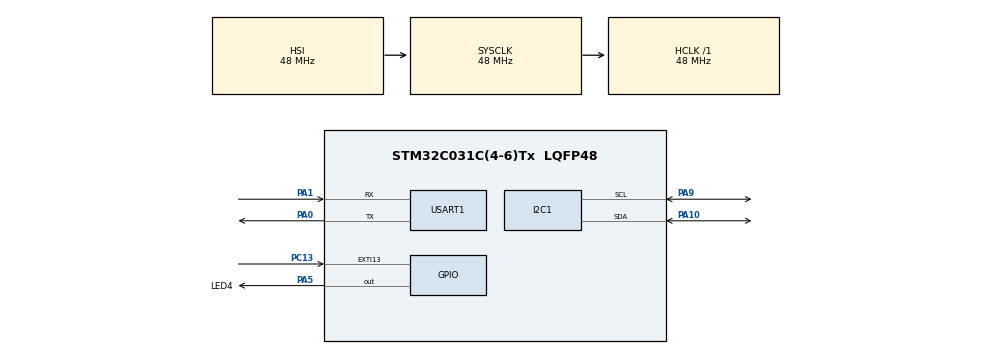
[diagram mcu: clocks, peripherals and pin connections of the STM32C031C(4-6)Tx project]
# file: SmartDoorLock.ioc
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I2C1.Timing=0x10805D88
Mcu.Family=STM32C0
Mcu.Name=STM32C031C(4-6)Tx
Mcu.Package=LQFP48
NUCLEO-C031C6.BUTTON=2
NUCLEO-C031C6.Bsp_Common_DEMO=true
NUCLEO-C031C6.LD4=false
NUCLEO-C031C6.VCP=false
NVIC.EXTI4_15_IRQn=true\:0\:0\:false\:false\:true\:true\:true\:false
PA0.Mode=Asynchronous
PA0.Signal=USART1_TX
PA1.Mode=Asynchronous
PA1.Signal=USART1_RX
PA10.Mode=I2C
PA10.Signal=I2C1_SDA
PA5.GPIO_Label=LED4
PA5.Signal=GPIO_Output
PA9.Mode=I2C
PA9.Signal=I2C1_SCL
PC13.Signal=GPXTI13
ProjectManager.HeapSize=0x200
ProjectManager.StackSize=0x400
ProjectManager.TargetToolchain=STM32CubeIDE
RCC.ADCFreq_Value=48000000
RCC.AHBFreq_Value=48000000
RCC.CortexFreq_Value=48000000
RCC.EXTERNAL_CLOCK_VALUE=12288000
RCC.HCLKFreq_Value=48000000
RCC.HSE_VALUE=48000000
RCC.HSISYSCLKDivider=RCC_HSI_DIV1
RCC.HSI_VALUE=48000000
RCC.LSE_VALUE=32768
RCC.SYSCLKFreq_VALUE=48000000
USART1.VirtualMode-Asynchronous=VM_ASYNC
board=NUCLEO-C031C6

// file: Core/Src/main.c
/* USER CODE BEGIN Header */
/**
  ******************************************************************************
  * @file    GPIO/GPIO_EXTI/Src/main.c
  * @author  MCD Application Team
  * @brief   This example describes how to configure and use GPIOs through
  *          the STM32C0xx HAL API.
  ******************************************************************************
  * @attention
  *
  * Copyright (c) 2022 STMicroelectronics.
  * All rights reserved.
  *
  * This software is licensed under terms that can be found in the LICENSE file
  * in the root directory of this software component.
  * If no LICENSE file comes with this software, it is provided AS-IS.
  *
  ******************************************************************************
  */
/* USER CODE END Header */
#include "main.h"

I2C_HandleTypeDef hi2c1;

UART_HandleTypeDef huart1;

void SystemClock_Config(void);
static void MX_GPIO_Init(void);
static void MX_I2C1_Init(void);
static void MX_USART1_UART_Init(void);
/* USER CODE BEGIN PFP */
/* Private function prototypes -----------------------------------------------*/
static void EXTI4_15_IRQHandler_Config(void);
/* USER CODE END PFP */

int main(void)
{

  /* USER CODE BEGIN 1 */
  /* STM32C0xx HAL library initialization:
       - Configure the Flash prefetch
       - Systick timer is configured by default as source of time base, but user
         can eventually implement his proper time base source (a general purpose
         timer for example or other time source), keeping in mind that Time base
         duration should be kept 1ms since PPP_TIMEOUT_VALUEs are defined and
         handled in milliseconds basis.
       - Low Level Initialization
     */
  /* USER CODE END 1 */

  /* MCU Configuration--------------------------------------------------------*/

  /* Reset of all peripherals, Initializes the Flash interface and the Systick. */
  HAL_Init();

  /* Configure the system clock */
  SystemClock_Config();

  /* Initialize all configured peripherals */
  MX_GPIO_Init();
  MX_I2C1_Init();
  MX_USART1_UART_Init();
  /* USER CODE BEGIN 2 */
  EXTI4_15_IRQHandler_Config();
  Application_Init();
  /* USER CODE END 2 */

  /* Infinite loop */
  while (1)
  {

  }
}

void SystemClock_Config(void)
{
  RCC_OscInitTypeDef RCC_OscInitStruct = {0};
  RCC_ClkInitTypeDef RCC_ClkInitStruct = {0};

  __HAL_FLASH_SET_LATENCY(FLASH_LATENCY_1);

  /** Initializes the RCC Oscillators according to the specified parameters
  * in the RCC_OscInitTypeDef structure.
  */
  RCC_OscInitStruct.OscillatorType = RCC_OSCILLATORTYPE_HSI;
  RCC_OscInitStruct.HSIState = RCC_HSI_ON;
  RCC_OscInitStruct.HSIDiv = RCC_HSI_DIV1;
  RCC_OscInitStruct.HSICalibrationValue = RCC_HSICALIBRATION_DEFAULT;
  if (HAL_RCC_OscConfig(&RCC_OscInitStruct) != HAL_OK)
  {
    Error_Handler();
  }

  /** Initializes the CPU, AHB and APB buses clocks
  */
  RCC_ClkInitStruct.ClockType = RCC_CLOCKTYPE_HCLK|RCC_CLOCKTYPE_SYSCLK
                              |RCC_CLOCKTYPE_PCLK1;
  RCC_ClkInitStruct.SYSCLKSource = RCC_SYSCLKSOURCE_HSI;
  RCC_ClkInitStruct.SYSCLKDivider = RCC_SYSCLK_DIV1;
  RCC_ClkInitStruct.AHBCLKDivider = RCC_HCLK_DIV1;
  RCC_ClkInitStruct.APB1CLKDivider = RCC_APB1_DIV1;

  if (HAL_RCC_ClockConfig(&RCC_ClkInitStruct, FLASH_LATENCY_1) != HAL_OK)
  {
    Error_Handler();
  }
}

static void MX_I2C1_Init(void)
{

  hi2c1.Instance = I2C1;
  hi2c1.Init.Timing = 0x10805D88;
  hi2c1.Init.OwnAddress1 = 0;
  hi2c1.Init.AddressingMode = I2C_ADDRESSINGMODE_7BIT;
  hi2c1.Init.DualAddressMode = I2C_DUALADDRESS_DISABLE;
  hi2c1.Init.OwnAddress2 = 0;
  hi2c1.Init.OwnAddress2Masks = I2C_OA2_NOMASK;
  hi2c1.Init.GeneralCallMode = I2C_GENERALCALL_DISABLE;
  hi2c1.Init.NoStretchMode = I2C_NOSTRETCH_DISABLE;
  if (HAL_I2C_Init(&hi2c1) != HAL_OK)
  {
    Error_Handler();
  }

  /** Configure Analogue filter
  */
  if (HAL_I2CEx_ConfigAnalogFilter(&hi2c1, I2C_ANALOGFILTER_ENABLE) != HAL_OK)
  {
    Error_Handler();
  }

  /** Configure Digital filter
  */
  if (HAL_I2CEx_ConfigDigitalFilter(&hi2c1, 0) != HAL_OK)
  {
    Error_Handler();
  }

}

static void MX_USART1_UART_Init(void)
{

  huart1.Instance = USART1;
  huart1.Init.BaudRate = 115200;
  huart1.Init.WordLength = UART_WORDLENGTH_8B;
  huart1.Init.StopBits = UART_STOPBITS_1;
  huart1.Init.Parity = UART_PARITY_NONE;
  huart1.Init.Mode = UART_MODE_TX_RX;
  huart1.Init.HwFlowCtl = UART_HWCONTROL_NONE;
  huart1.Init.OverSampling = UART_OVERSAMPLING_16;
  huart1.Init.OneBitSampling = UART_ONE_BIT_SAMPLE_DISABLE;
  huart1.Init.ClockPrescaler = UART_PRESCALER_DIV1;
  huart1.AdvancedInit.AdvFeatureInit = UART_ADVFEATURE_NO_INIT;
  if (HAL_UART_Init(&huart1) != HAL_OK)
  {
    Error_Handler();
  }
  if (HAL_UARTEx_SetTxFifoThreshold(&huart1, UART_TXFIFO_THRESHOLD_1_8) != HAL_OK)
  {
    Error_Handler();
  }
  if (HAL_UARTEx_SetRxFifoThreshold(&huart1, UART_RXFIFO_THRESHOLD_1_8) != HAL_OK)
  {
    Error_Handler();
  }
  if (HAL_UARTEx_DisableFifoMode(&huart1) != HAL_OK)
  {
    Error_Handler();
  }

}

static void MX_GPIO_Init(void)
{
  GPIO_InitTypeDef GPIO_InitStruct = {0};

  /* GPIO Ports Clock Enable */
  __HAL_RCC_GPIOC_CLK_ENABLE();
  __HAL_RCC_GPIOA_CLK_ENABLE();

  /*Configure GPIO pin Output Level */
  HAL_GPIO_WritePin(LED4_GPIO_Port, LED4_Pin, GPIO_PIN_RESET);

  /*Configure GPIO pin : PC13 */
  GPIO_InitStruct.Pin = GPIO_PIN_13;
  GPIO_InitStruct.Mode = GPIO_MODE_IT_RISING;
  GPIO_InitStruct.Pull = GPIO_NOPULL;
  HAL_GPIO_Init(GPIOC, &GPIO_InitStruct);

  /*Configure GPIO pin : LED4_Pin */
  GPIO_InitStruct.Pin = LED4_Pin;
  GPIO_InitStruct.Mode = GPIO_MODE_OUTPUT_PP;
  GPIO_InitStruct.Pull = GPIO_NOPULL;
  GPIO_InitStruct.Speed = GPIO_SPEED_FREQ_LOW;
  HAL_GPIO_Init(LED4_GPIO_Port, &GPIO_InitStruct);

  /* EXTI interrupt init*/
  HAL_NVIC_SetPriority(EXTI4_15_IRQn, 0, 0);

}

/* USER CODE BEGIN 4 */
/**
  * @brief  Configures EXTI line 13 (connected to PC.13 pin) in interrupt mode
  * @param  None
  * @retval None
  */
static void EXTI4_15_IRQHandler_Config(void)
{
  GPIO_InitTypeDef   GPIO_InitStructure;

  /* Enable GPIOC clock */
  __HAL_RCC_GPIOC_CLK_ENABLE();

  /* Configure PC.13 pin as input floating */
  GPIO_InitStructure.Mode = GPIO_MODE_IT_FALLING;

  GPIO_InitStructure.Pull = GPIO_PULLUP;
  GPIO_InitStructure.Pin = GPIO_PIN_13;
  HAL_GPIO_Init(GPIOC, &GPIO_InitStructure);

  /* Enable and set line 13 Interrupt to the lowest priority */
  HAL_NVIC_SetPriority(EXTI4_15_IRQn, 2, 0);
  HAL_NVIC_EnableIRQ(EXTI4_15_IRQn);
}

/**
  * @brief EXTI line detection callbacks
  * @param GPIO_Pin: Specifies the pins connected EXTI line
  * @retval None
  */
void HAL_GPIO_EXTI_Falling_Callback(uint16_t GPIO_Pin)
{
    if (GPIO_Pin == GPIO_PIN_13)
    {
        // Get the message from ReadNFCTag()
        char* msg = ReadNFCTag();

        // Calculate the length of the message (null-terminated string)
        uint16_t msg_len = strlen(msg);

        // Transmit the message over UART2
        HAL_UART_Transmit(&huart1, (uint8_t*)msg, msg_len, HAL_MAX_DELAY);
    }
}
/* USER CODE END 4 */

void Error_Handler(void)
{
  while (1)
  {
  }
}
